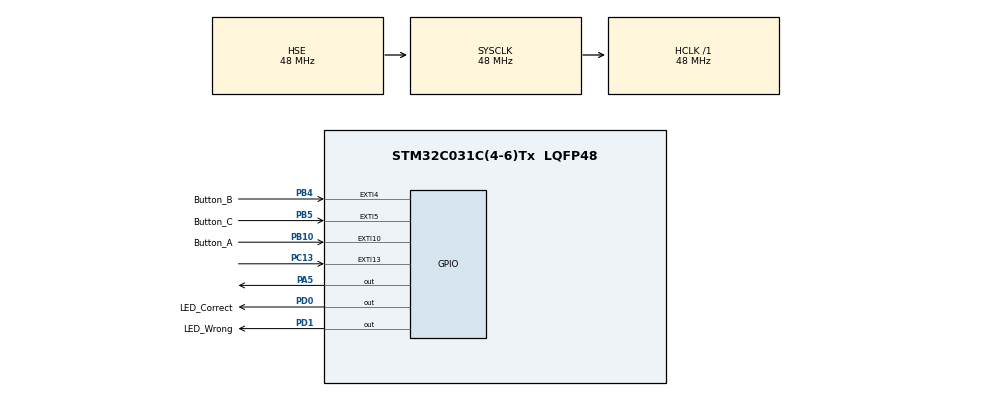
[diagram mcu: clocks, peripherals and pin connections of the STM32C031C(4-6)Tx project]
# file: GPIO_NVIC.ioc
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Mcu.Family=STM32C0
Mcu.Name=STM32C031C(4-6)Tx
Mcu.Package=LQFP48
NUCLEO-C031C6.BUTTON=1
NUCLEO-C031C6.LD4=true
NUCLEO-C031C6.VCP=true
NVIC.EXTI4_15_IRQn=true\:0\:0\:false\:false\:true\:true\:true\:true
PA13.GPIO_Label=DEBUG_SWDIO
PA13.Signal=DEBUG_SWDIO
PA14-BOOT0.GPIO_Label=DEBUG_SWCLK
PA14-BOOT0.Signal=DEBUG_SWCLK
PA2.Signal=USART2_TX
PA3.Signal=USART2_RX
PA5.Signal=GPIO_Output
PB10.GPIO_Label=Button_A
PB10.GPIO_ModeDefaultEXTI=GPIO_MODE_IT_FALLING
PB10.GPIO_PuPd=GPIO_PULLUP
PB10.Signal=GPXTI10
PB4.GPIO_Label=Button_B
PB4.GPIO_ModeDefaultEXTI=GPIO_MODE_IT_FALLING
PB4.GPIO_PuPd=GPIO_PULLUP
PB4.Signal=GPXTI4
PB5.GPIO_Label=Button_C
PB5.GPIO_ModeDefaultEXTI=GPIO_MODE_IT_FALLING
PB5.GPIO_PuPd=GPIO_PULLUP
PB5.Signal=GPXTI5
PC13.Signal=GPXTI13
PC14-OSCX_IN\ (PC14).GPIO_Label=RCC_OSCX_IN
PC14-OSCX_IN\ (PC14).Mode=LSE-External-Oscillator
PC14-OSCX_IN\ (PC14).Signal=RCC_OSCX_IN
PC15-OSCX_OUT\ (PC15).GPIO_Label=RCC_OSCX_OUT
PC15-OSCX_OUT\ (PC15).Mode=LSE-External-Oscillator
PC15-OSCX_OUT\ (PC15).Signal=RCC_OSCX_OUT
PD0.GPIO_Label=LED_Correct
PD0.Signal=GPIO_Output
PD1.GPIO_Label=LED_Wrong
PD1.Signal=GPIO_Output
PF0-OSC_IN\ (PF0).GPIO_Label=RCC_OSC_IN
PF0-OSC_IN\ (PF0).Mode=HSE-External-Oscillator
PF0-OSC_IN\ (PF0).Signal=RCC_OSC_IN
PF1-OSC_OUT\ (PF1).GPIO_Label=RCC_OSC_OUT
PF1-OSC_OUT\ (PF1).Mode=HSE-External-Oscillator
PF1-OSC_OUT\ (PF1).Signal=RCC_OSC_OUT
ProjectManager.HeapSize=0x200
ProjectManager.StackSize=0x400
ProjectManager.TargetToolchain=STM32CubeIDE
RCC.ADCFreq_Value=48000000
RCC.AHBFreq_Value=48000000
RCC.CortexFreq_Value=48000000
RCC.EXTERNAL_CLOCK_VALUE=12288000
RCC.HCLKFreq_Value=48000000
RCC.HSE_VALUE=48000000
RCC.HSISYSCLKDivider=RCC_HSI_DIV1
RCC.HSI_VALUE=48000000
RCC.SYSCLKFreq_VALUE=48000000
RCC.SYSCLKSource=RCC_SYSCLKSOURCE_HSE
VP_NUCLEO-C031C6_VS_BSP_COMMON.Mode=COMMON
board=NUCLEO-C031C6

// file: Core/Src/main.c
/* USER CODE BEGIN Header */
/**
  ******************************************************************************
  * @file           : main.c
  * @brief          : Main program body
  ******************************************************************************
  * @attention
  *
  * Copyright (c) 2025 STMicroelectronics.
  * All rights reserved.
  *
  * This software is licensed under terms that can be found in the LICENSE file
  * in the root directory of this software component.
  * If no LICENSE file comes with this software, it is provided AS-IS.
  *
  ******************************************************************************
  */
/* USER CODE END Header */
#include "main.h"

COM_InitTypeDef BspCOMInit;

void SystemClock_Config(void);
static void MX_GPIO_Init(void);

/* USER CODE BEGIN 0 */
uint8_t pos = 0;
uint8_t password[3] = {0, 0, 0};
/* USER CODE END 0 */

int main(void)
{

  /* MCU Configuration--------------------------------------------------------*/

  /* Reset of all peripherals, Initializes the Flash interface and the Systick. */
  HAL_Init();

  /* Configure the system clock */
  SystemClock_Config();

  /* Initialize all configured peripherals */
  MX_GPIO_Init();

  /* Initialize leds */
  BSP_LED_Init(LED_GREEN);

  /* Initialize USER push-button, will be used to trigger an interrupt each time it's pressed.*/
  BSP_PB_Init(BUTTON_USER, BUTTON_MODE_EXTI);

  /* Initialize COM1 port (115200, 8 bits (7-bit data + 1 stop bit), no parity */
  BspCOMInit.BaudRate   = 115200;
  BspCOMInit.WordLength = COM_WORDLENGTH_8B;
  BspCOMInit.StopBits   = COM_STOPBITS_1;
  BspCOMInit.Parity     = COM_PARITY_NONE;
  BspCOMInit.HwFlowCtl  = COM_HWCONTROL_NONE;
  if (BSP_COM_Init(COM1, &BspCOMInit) != BSP_ERROR_NONE)
  {
    Error_Handler();
  }

  /* Infinite loop */
  /* USER CODE BEGIN WHILE */
  while (1){
	  if(pos >= 3){
		  if(password[0] == 2 && password[1] == 1 && password[2] == 3){
			  HAL_GPIO_WritePin(LED_Correct_GPIO_Port, LED_Correct_Pin, 1);
		  }
		  else{
			  HAL_GPIO_WritePin(LED_Wrong_GPIO_Port, LED_Wrong_Pin, 1);
		  }
		  HAL_Delay(1000);
		  HAL_GPIO_WritePin(LED_Correct_GPIO_Port, LED_Correct_Pin, 0);
		  HAL_GPIO_WritePin(LED_Wrong_GPIO_Port, LED_Wrong_Pin, 0);
		  pos = 0;
	  }

    /* USER CODE END WHILE */

  }
}

void SystemClock_Config(void)
{
  RCC_OscInitTypeDef RCC_OscInitStruct = {0};
  RCC_ClkInitTypeDef RCC_ClkInitStruct = {0};

  __HAL_FLASH_SET_LATENCY(FLASH_LATENCY_1);

  /** Initializes the RCC Oscillators according to the specified parameters
  * in the RCC_OscInitTypeDef structure.
  */
  RCC_OscInitStruct.OscillatorType = RCC_OSCILLATORTYPE_HSE;
  RCC_OscInitStruct.HSEState = RCC_HSE_ON;
  if (HAL_RCC_OscConfig(&RCC_OscInitStruct) != HAL_OK)
  {
    Error_Handler();
  }

  /** Initializes the CPU, AHB and APB buses clocks
  */
  RCC_ClkInitStruct.ClockType = RCC_CLOCKTYPE_HCLK|RCC_CLOCKTYPE_SYSCLK
                              |RCC_CLOCKTYPE_PCLK1;
  RCC_ClkInitStruct.SYSCLKSource = RCC_SYSCLKSOURCE_HSE;
  RCC_ClkInitStruct.SYSCLKDivider = RCC_SYSCLK_DIV1;
  RCC_ClkInitStruct.AHBCLKDivider = RCC_HCLK_DIV1;
  RCC_ClkInitStruct.APB1CLKDivider = RCC_APB1_DIV1;

  if (HAL_RCC_ClockConfig(&RCC_ClkInitStruct, FLASH_LATENCY_1) != HAL_OK)
  {
    Error_Handler();
  }
}

static void MX_GPIO_Init(void)
{
  GPIO_InitTypeDef GPIO_InitStruct = {0};

  /* GPIO Ports Clock Enable */
  __HAL_RCC_GPIOC_CLK_ENABLE();
  __HAL_RCC_GPIOF_CLK_ENABLE();
  __HAL_RCC_GPIOB_CLK_ENABLE();
  __HAL_RCC_GPIOA_CLK_ENABLE();
  __HAL_RCC_GPIOD_CLK_ENABLE();

  /*Configure GPIO pin Output Level */
  HAL_GPIO_WritePin(GPIOD, LED_Correct_Pin|LED_Wrong_Pin, GPIO_PIN_RESET);

  /*Configure GPIO pins : Button_A_Pin Button_B_Pin Button_C_Pin */
  GPIO_InitStruct.Pin = Button_A_Pin|Button_B_Pin|Button_C_Pin;
  GPIO_InitStruct.Mode = GPIO_MODE_IT_FALLING;
  GPIO_InitStruct.Pull = GPIO_PULLUP;
  HAL_GPIO_Init(GPIOB, &GPIO_InitStruct);

  /*Configure GPIO pins : LED_Correct_Pin LED_Wrong_Pin */
  GPIO_InitStruct.Pin = LED_Correct_Pin|LED_Wrong_Pin;
  GPIO_InitStruct.Mode = GPIO_MODE_OUTPUT_PP;
  GPIO_InitStruct.Pull = GPIO_NOPULL;
  GPIO_InitStruct.Speed = GPIO_SPEED_FREQ_LOW;
  HAL_GPIO_Init(GPIOD, &GPIO_InitStruct);

  /* EXTI interrupt init*/
  HAL_NVIC_SetPriority(EXTI4_15_IRQn, 0, 0);
  HAL_NVIC_EnableIRQ(EXTI4_15_IRQn);

}

/* USER CODE BEGIN 4 */
void HAL_GPIO_EXTI_Falling_Callback(uint16_t GPIO_Pin){
	if(GPIO_Pin == Button_A_Pin){
		if(pos < 3){
			password[pos] = 1;
			pos++;
		}
	}
	else if(GPIO_Pin == Button_B_Pin){
		if(pos < 3){
			password[pos] = 2;
			pos++;
		}
	}
	else if(GPIO_Pin == Button_C_Pin){
		if(pos < 3){
			password[pos] = 3;
			pos++;
		}
	}
}
/* USER CODE END 4 */

void Error_Handler(void)
{
  __disable_irq();
  while (1)
  {
  }
}
